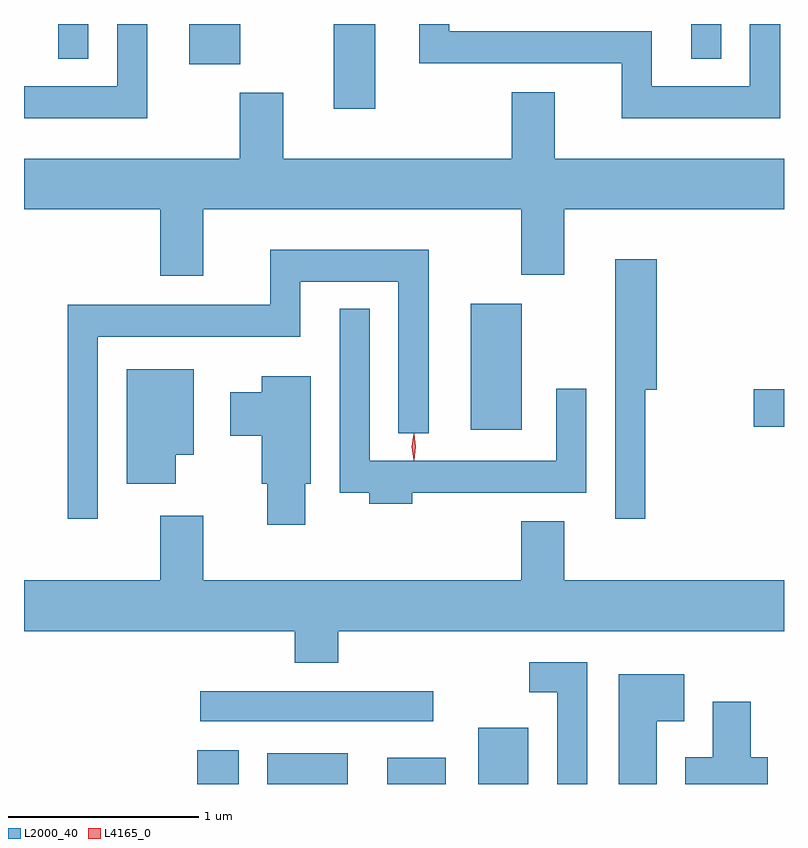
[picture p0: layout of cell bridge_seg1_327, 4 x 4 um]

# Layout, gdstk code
import gdstk
lib = gdstk.Library(unit=1e-6, precision=1e-09)
def R(c, l, rs):  # rectangles x0, y0, x1, y1
    for r in rs: c.add(gdstk.rectangle(r[:2], r[2:], *l))
def P(c, l, *ps):  # polygons
    for p in ps: c.add(gdstk.Polygon(p, *l))
L2000_40 = (2000, 40)
L4165_0 = (4165, 0)

bridge_seg1_327 = lib.new_cell('bridge_seg1_327')
R(bridge_seg1_327, L2000_40, [(909.416,876.572,909.634,876.749), (909.786,876.572,910.209,876.734), (910.416,876.572,910.724,876.709), (910.896,876.572,911.159,876.869), (909.433,876.901,910.658,877.059), (910.856,878.436,911.124,879.099), (912.346,878.451,912.505,878.649), (910.136,880.126,910.354,880.572), (909.376,880.361,909.644,880.572), (908.686,880.388,908.844,880.572), (912.016,880.388,912.174,880.572)])
P(bridge_seg1_327, L2000_40, [(912.484,880.572),(912.326,880.572),(912.326,880.244),(911.809,880.244),(911.809,880.534),(910.744,880.534),(910.744,880.572),(910.586,880.572),(910.586,880.366),(911.651,880.366),(911.651,880.076),(912.484,880.076)],
  [(909.154,880.572),(908.996,880.572),(908.996,880.244),(908.505,880.244),(908.505,880.076),(909.154,880.076)],
  [(909.449,879.596),(911.121,879.596),(911.121,879.251),(911.349,879.251),(911.349,879.596),(912.505,879.596),(912.505,879.864),(911.299,879.864),(911.299,880.214),(911.071,880.214),(911.071,879.864),(909.869,879.864),(909.869,880.209),(909.641,880.209),(909.641,879.864),(908.505,879.864),(908.505,879.596),(909.221,879.596),(909.221,879.246),(909.449,879.246)],
  [(908.894,878.926),(909.959,878.926),(909.959,879.216),(910.476,879.216),(910.476,878.418),(910.634,878.418),(910.634,879.384),(909.801,879.384),(909.801,879.094),(908.736,879.094),(908.736,877.968),(908.894,877.968)],
  [(911.774,878.646),(911.834,878.646),(911.834,879.334),(911.616,879.334),(911.616,877.968),(911.774,877.968)],
  [(910.549,878.106),(911.464,878.106),(911.464,878.653),(911.306,878.653),(911.306,878.274),(910.324,878.274),(910.324,879.073),(910.166,879.073),(910.166,878.106),(910.321,878.106),(910.321,878.046),(910.549,878.046)],
  [(909.304,878.306),(909.399,878.306),(909.399,878.754),(909.046,878.754),(909.046,878.151),(909.304,878.151)],
  [(909.984,878.151),(910.014,878.151),(910.014,878.719),(909.756,878.719),(909.756,878.634),(909.591,878.634),(909.591,878.406),(909.756,878.406),(909.756,878.151),(909.786,878.151),(909.786,877.936),(909.984,877.936)],
  [(910.159,877.376),(912.505,877.376),(912.505,877.644),(911.349,877.644),(911.349,877.954),(911.121,877.954),(911.121,877.644),(909.449,877.644),(909.449,877.984),(909.221,877.984),(909.221,877.644),(908.505,877.644),(908.505,877.376),(909.931,877.376),(909.931,877.211),(910.159,877.211)],
  [(911.469,877.214),(911.163,877.214),(911.163,877.056),(911.311,877.056),(911.311,876.572),(911.469,876.572)],
  [(911.834,876.901),(911.979,876.901),(911.979,877.149),(911.636,877.149),(911.636,876.572),(911.834,876.572)],
  [(912.419,876.714),(912.329,876.714),(912.329,877.004),(912.131,877.004),(912.131,876.714),(911.986,876.714),(911.986,876.572),(912.419,876.572)])
P(bridge_seg1_327, L4165_0, [(910.557,878.277),(910.557,878.277),(910.547,878.347),(910.557,878.416),(910.557,878.416),(910.558,878.416),(910.567,878.347),(910.558,878.277)])

lib.write_gds('bridge_seg1_327.gds')
